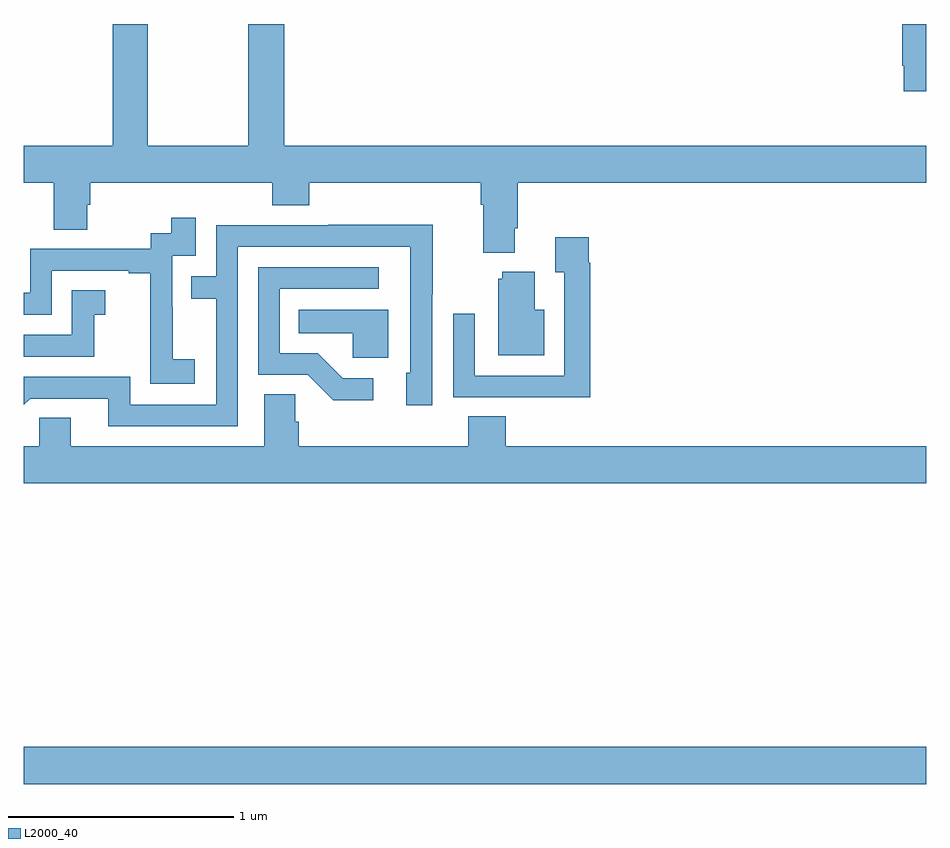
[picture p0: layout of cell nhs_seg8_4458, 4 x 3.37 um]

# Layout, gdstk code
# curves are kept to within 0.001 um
import gdstk
lib = gdstk.Library(unit=1e-6, precision=1e-09)
def R(c, l, rs):  # rectangles x0, y0, x1, y1
    for r in rs: c.add(gdstk.rectangle(r[:2], r[2:], *l))
def P(c, l, *ps):  # polygons
    for p in ps: c.add(gdstk.Polygon(p, *l))
L2000_40 = (2000, 40)

nhs_seg8_4458 = lib.new_cell('nhs_seg8_4458')
R(nhs_seg8_4458, L2000_40, [(383,1084.532,387,1084.696)])
P(nhs_seg8_4458, L2000_40, [(385.177,1086.994),(385.19,1086.994),(385.19,1087.196),(387,1087.196),(387,1087.36),(384.155,1087.36),(384.155,1087.9),(383.995,1087.9),(383.995,1087.36),(383.55,1087.36),(383.55,1087.9),(383.395,1087.9),(383.395,1087.36),(383,1087.36),(383,1087.196),(383.134,1087.196),(383.134,1086.988),(383.281,1086.988),(383.281,1087.098),(383.294,1087.098),(383.294,1087.196),(384.101,1087.196),(384.101,1087.097),(384.266,1087.097),(384.266,1087.196),(385.025,1087.196),(385.025,1087.1),(385.037,1087.1),(385.037,1086.887),(385.177,1086.887)],
  [(387,1087.9),(386.893,1087.9),(386.893,1087.714),(386.901,1087.714),(386.901,1087.602),(387,1087.602)],
  [(383.758,1086.415),(383.66,1086.415),(383.66,1086.644),(383.658,1086.644),(383.658,1086.873),(383.763,1086.873),(383.763,1087.042),(383.655,1087.042),(383.655,1086.972),(383.562,1086.972),(383.562,1086.903),(383.028,1086.903),(383.028,1086.708),(383,1086.708),(383,1086.612),(383.124,1086.612),(383.124,1086.807),(383.465,1086.807),(383.465,1086.795),(383.561,1086.795),(383.561,1086.511),(383.56,1086.511),(383.56,1086.305),(383.758,1086.305)],
  [(383.949,1086.912),(384.713,1086.912),(384.714,1086.354),(384.695,1086.354),(384.695,1086.21),(384.81,1086.21),(384.81,1086.703),(384.813,1086.703),(384.813,1087.01),(384.349,1087.01),(384.349,1087.008),(383.853,1087.008),(383.853,1086.783),(383.743,1086.783),(383.743,1086.682),(383.853,1086.682),(383.853,1086.213),(383.472,1086.213),(383.472,1086.336),(383,1086.336),(383,1086.212),(383.028,1086.24),(383.375,1086.24),(383.375,1086.117),(383.949,1086.117)],
  [(385.511,1086.842),(385.504,1086.842),(385.504,1086.955),(385.355,1086.955),(385.355,1086.799),(385.395,1086.799),(385.395,1086.342),(384.999,1086.342),(384.999,1086.616),(384.903,1086.616),(384.903,1086.246),(385.219,1086.246),(385.219,1086.245),(385.511,1086.245)],
  [(384.55,1086.33),(384.415,1086.33),(384.304,1086.441),(384.135,1086.441),(384.135,1086.726),(384.574,1086.726),(384.574,1086.822),(384.039,1086.822),(384.039,1086.345),(384.258,1086.345),(384.371,1086.233),(384.55,1086.233)],
  [(385.306,1086.634),(385.264,1086.634),(385.264,1086.802),(385.121,1086.802),(385.121,1086.771),(385.103,1086.771),(385.103,1086.431),(385.306,1086.431)],
  [(383.313,1086.611),(383.362,1086.611),(383.362,1086.721),(383.214,1086.721),(383.214,1086.522),(383,1086.522),(383,1086.426),(383.313,1086.426)],
  [(384.616,1086.634),(384.22,1086.634),(384.22,1086.53),(384.459,1086.53),(384.459,1086.422),(384.616,1086.422)],
  [(387,1086.028),(385.136,1086.028),(385.136,1086.161),(384.971,1086.161),(384.971,1086.028),(384.218,1086.028),(384.218,1086.137),(384.204,1086.137),(384.204,1086.26),(384.065,1086.26),(384.065,1086.028),(383.209,1086.028),(383.209,1086.155),(383.07,1086.155),(383.07,1086.028),(383,1086.028),(383,1085.864),(387,1085.864)])

lib.write_gds('nhs_seg8_4458.gds')
